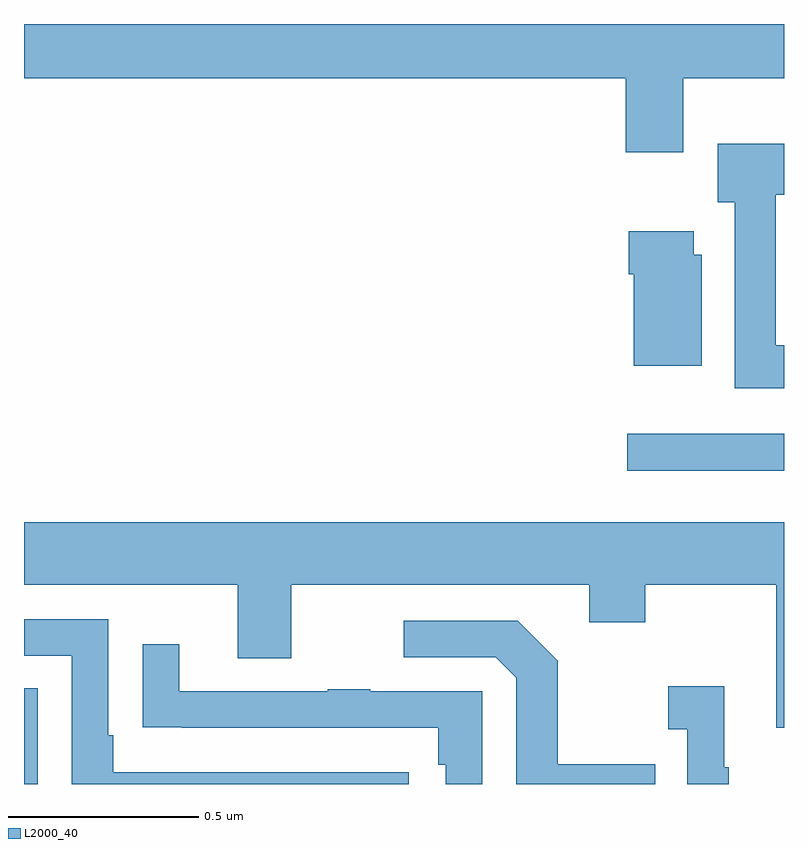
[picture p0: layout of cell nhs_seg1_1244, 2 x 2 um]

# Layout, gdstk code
import gdstk
lib = gdstk.Library(unit=1e-6, precision=1e-09)
def R(c, l, rs):  # rectangles x0, y0, x1, y1
    for r in rs: c.add(gdstk.rectangle(r[:2], r[2:], *l))
def P(c, l, *ps):  # polygons
    for p in ps: c.add(gdstk.Polygon(p, *l))
L2000_40 = (2000, 40)

nhs_seg1_1244 = lib.new_cell('nhs_seg1_1244')
R(nhs_seg1_1244, L2000_40, [(126,559.199,126.036,559.451), (127.587,560.024,128,560.121)])
P(nhs_seg1_1244, L2000_40, [(127.735,561.056),(128,561.056),(128,561.199),(126,561.199),(126,561.056),(127.583,561.056),(127.583,560.862),(127.735,560.862)],
  [(128,560.354),(127.978,560.354),(127.978,560.75),(128,560.75),(128,560.884),(127.826,560.884),(127.826,560.73),(127.871,560.73),(127.871,560.241),(128,560.241)],
  [(127.783,560.592),(127.762,560.592),(127.762,560.653),(127.592,560.653),(127.592,560.54),(127.604,560.54),(127.604,560.3),(127.783,560.3)],
  [(128,559.888),(126,559.888),(126,559.724),(126.563,559.724),(126.563,559.53),(126.703,559.53),(126.703,559.724),(127.487,559.724),(127.487,559.625),(127.635,559.625),(127.635,559.724),(127.979,559.724),(127.979,559.347),(128,559.347)],
  [(127.012,559.23),(126.235,559.23),(126.235,559.327),(126.222,559.327),(126.222,559.632),(126,559.632),(126,559.536),(126.126,559.536),(126.126,559.199),(127.012,559.199)],
  [(127.661,559.251),(127.405,559.251),(127.405,559.523),(127.299,559.629),(126.999,559.629),(126.999,559.533),(127.242,559.533),(127.296,559.479),(127.296,559.199),(127.661,559.199)],
  [(127.206,559.443),(126.911,559.443),(126.911,559.448),(126.799,559.448),(126.799,559.443),(126.409,559.443),(126.409,559.567),(126.313,559.567),(126.313,559.348),(126.415,559.348),(126.415,559.347),(127.09,559.347),(127.09,559.25),(127.11,559.25),(127.11,559.199),(127.206,559.199)],
  [(127.855,559.243),(127.843,559.243),(127.843,559.456),(127.695,559.456),(127.695,559.343),(127.746,559.343),(127.746,559.199),(127.855,559.199)])

lib.write_gds('nhs_seg1_1244.gds')
